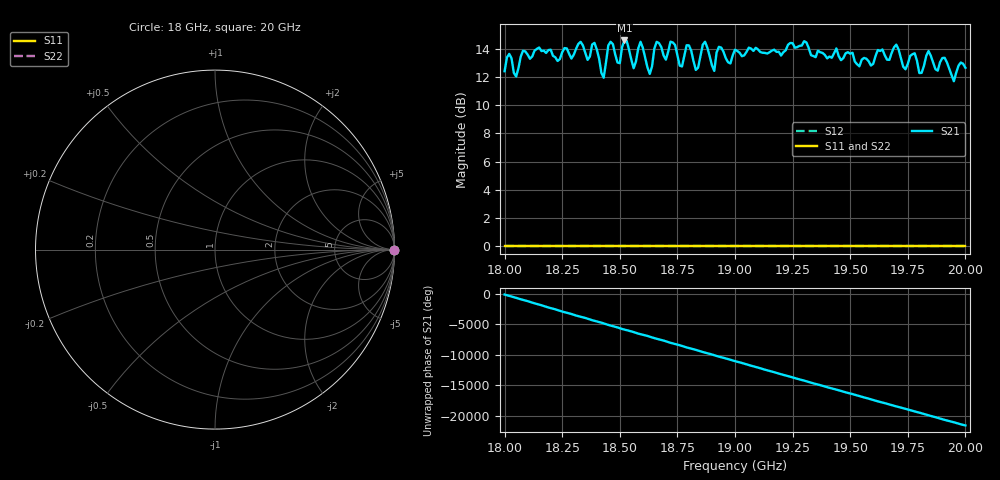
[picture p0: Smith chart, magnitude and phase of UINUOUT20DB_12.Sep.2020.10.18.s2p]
!Agilent N9918A: A.07.57
!Date: Saturday, 12 September 2020 10:21:07
!Timezone: (GMT-08:00) Pacific Time (US & Canada)
!Model: N9918A
!Serial: MY53103598
!GPS Latitude:
!GPS Longitude:
!GPS TimeStamp: 0001-01-01 00:00:00Z
!GPS Seconds Since Last Read: 0
!CHECKSUM:0417235042
!Correction: S11()S21(Rdy)S12()S22()
!S2P File: Measurements:S11,S21,S12,S22:
# Hz S DB R 50
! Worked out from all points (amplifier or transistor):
!   201 points, 18 GHz to 20 GHz, reference 50 ohm
!   highest |S21| = 14.6 dB at 18.52 GHz (marker M1)
!   |S21| within 3 dB of that: start of sweep to end of sweep
!   unconditionally stable (mu >= 1): nowhere
!   at 18.33 GHz: K = 3.61, MSG = 7.2 dB, |S12| = 0.0 dB
!   at 19 GHz: K = 2.30, MSG = 7.0 dB, |S12| = 0.0 dB
!   at 20 GHz: K = 1.29, MSG = 6.3 dB, |S12| = 0.0 dB
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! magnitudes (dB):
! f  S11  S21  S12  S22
! 18 GHz  0.0  12.4  0.0  0.0
! 18.34 GHz  0.0  14.2  0.0  0.0
! 18.39 GHz  0.0  14.4  0.0  0.0
! 18.43 GHz  0.0  11.9  0.0  0.0
! 18.45 GHz  0.0  14.2  0.0  0.0
! 18.5 GHz  0.0  13.0  0.0  0.0
! 18.52 GHz  0.0  14.6  0.0  0.0
! 18.56 GHz  0.0  12.6  0.0  0.0
! 18.59 GHz  0.0  14.5  0.0  0.0
! 18.63 GHz  0.0  12.2  0.0  0.0
! 18.67 GHz  0.0  14.4  0.0  0.0
! 18.77 GHz  0.0  12.7  0.0  0.0
! 18.8 GHz  0.0  14.2  0.0  0.0
! 18.83 GHz  0.0  12.5  0.0  0.0
! 18.87 GHz  0.0  14.5  0.0  0.0
! 18.91 GHz  0.0  12.4  0.0  0.0
! 18.93 GHz  0.0  14.1  0.0  0.0
! 19 GHz  0.0  13.9  0.0  0.0
! 19.34 GHz  0.0  13.5  0.0  0.0
! 19.67 GHz  0.0  13.2  0.0  0.0
! 19.7 GHz  0.0  14.3  0.0  0.0
! 20 GHz  0.0  12.6  0.0  0.0
